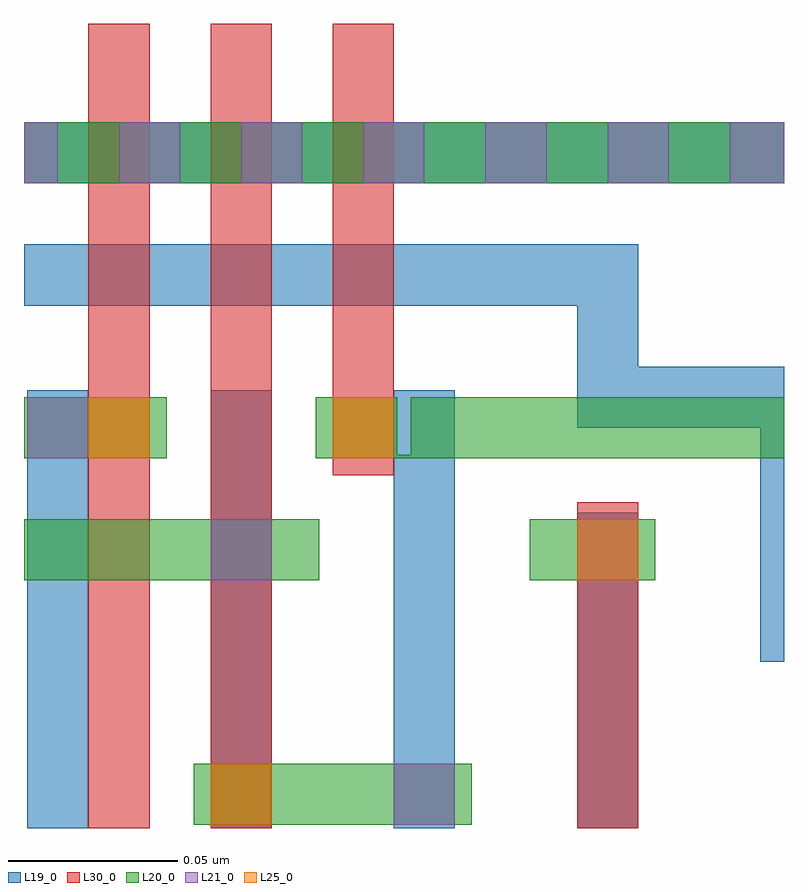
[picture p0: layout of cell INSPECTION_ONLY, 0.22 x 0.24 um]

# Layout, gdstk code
import gdstk
lib = gdstk.Library(unit=1e-6, precision=2.5e-10)
def R(c, l, rs):  # rectangles x0, y0, x1, y1
    for r in rs: c.add(gdstk.rectangle(r[:2], r[2:], *l))
def A(c, l, x, y, w, h, nx, ny, dx, dy):  # array of equal rectangles
    R(c, l, [(x+i*dx, y+j*dy, x+i*dx+w, y+j*dy+h) for i in range(nx) for j in range(ny)])
def P(c, l, *ps):  # polygons
    for p in ps: c.add(gdstk.Polygon(p, *l))
L19_0 = (19, 0)
L20_0 = (20, 0)
L21_0 = (21, 0)
L25_0 = (25, 0)
L30_0 = (30, 0)

inspection_only = lib.new_cell('INSPECTION_ONLY')
A(inspection_only, L19_0, 4.446, 3.851, 0.018, 0.129, 3, 1, 0.054, 0)
R(inspection_only, L19_0, [(4.554,3.851,4.572,3.872), (4.608,3.851,4.626,3.944), (4.5,3.922,4.518,3.944), (4.608,3.922,4.626,3.944), (4.446,3.958,4.464,3.98), (4.445,4.041,4.669,4.059), (4.445,4.041,4.669,4.059), (4.445,4.041,4.669,4.059), (4.445,4.041,4.669,4.059)])
P(inspection_only, L19_0, [(4.662,3.9),(4.662,3.969),(4.608,3.969),(4.608,4.005),(4.445,4.005),(4.445,4.023),(4.626,4.023),(4.626,3.987),(4.669,3.987),(4.669,3.9)])
R(inspection_only, L20_0, [(4.495,3.852,4.577,3.87), (4.445,3.924,4.532,3.942), (4.594,3.924,4.631,3.942), (4.445,3.96,4.487,3.978), (4.445,4.041,4.669,4.059)])
P(inspection_only, L20_0, [(4.531,3.96),(4.531,3.978),(4.555,3.978),(4.555,3.961),(4.559,3.961),(4.559,3.978),(4.669,3.978),(4.669,3.96)])
A(inspection_only, L21_0, 4.473, 4.041, 0.018, 0.018, 5, 1, 0.036, 0)
R(inspection_only, L21_0, [(4.554,3.852,4.572,3.87), (4.5,3.924,4.518,3.942), (4.608,3.924,4.626,3.942), (4.446,3.96,4.464,3.978), (4.445,4.041,4.455,4.059), (4.653,4.041,4.669,4.059)])
R(inspection_only, L25_0, [(4.5,3.852,4.518,3.87), (4.608,3.924,4.626,3.942), (4.464,3.96,4.482,3.978), (4.536,3.96,4.554,3.978)])
R(inspection_only, L30_0, [(4.464,3.851,4.482,4.088), (4.5,3.851,4.518,4.088), (4.608,3.851,4.626,3.947), (4.536,3.955,4.554,4.088)])

lib.write_gds('INSPECTION_ONLY.gds')
